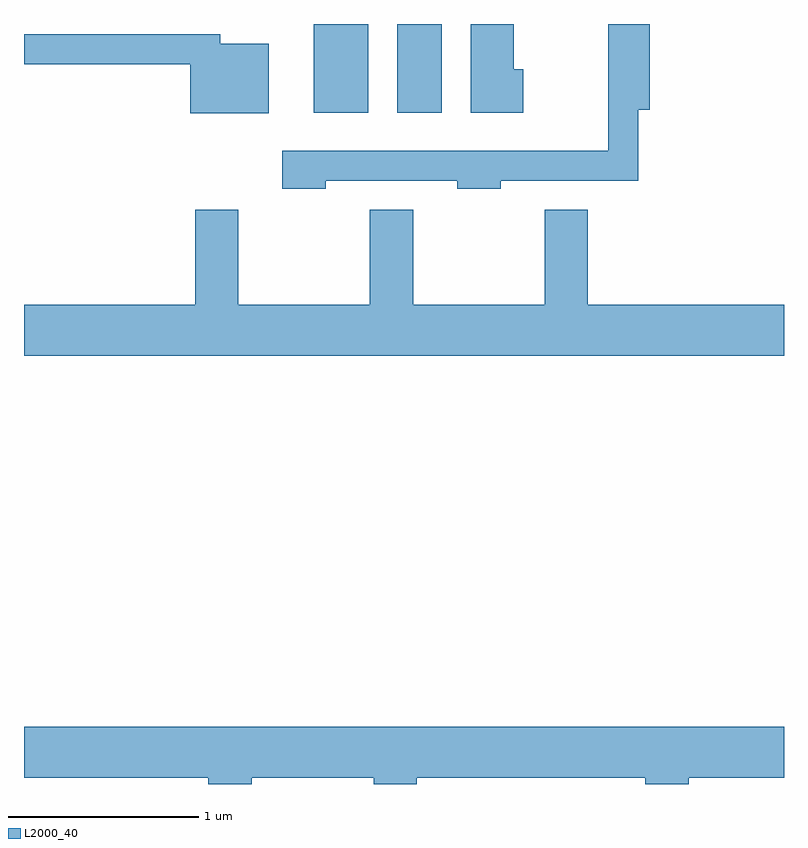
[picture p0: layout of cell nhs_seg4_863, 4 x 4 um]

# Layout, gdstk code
import gdstk
lib = gdstk.Library(unit=1e-6, precision=1e-09)
def R(c, l, rs):  # rectangles x0, y0, x1, y1
    for r in rs: c.add(gdstk.rectangle(r[:2], r[2:], *l))
def P(c, l, *ps):  # polygons
    for p in ps: c.add(gdstk.Polygon(p, *l))
L2000_40 = (2000, 40)

nhs_seg4_863 = lib.new_cell('nhs_seg4_863')
R(nhs_seg4_863, L2000_40, [(211.136,1351.516,211.424,1351.982), (211.576,1351.516,211.809,1351.982)])
P(nhs_seg4_863, L2000_40, [(211.199,1351.156),(211.891,1351.156),(211.891,1351.116),(212.119,1351.116),(212.119,1351.156),(212.844,1351.156),(212.844,1351.531),(212.904,1351.531),(212.904,1351.982),(212.686,1351.982),(212.686,1351.314),(210.971,1351.314),(210.971,1351.116),(211.199,1351.116)],
  [(212.239,1351.744),(212.189,1351.744),(212.189,1351.982),(211.961,1351.982),(211.961,1351.516),(212.239,1351.516)],
  [(210.899,1351.879),(210.644,1351.879),(210.644,1351.929),(209.611,1351.929),(209.611,1351.771),(210.486,1351.771),(210.486,1351.511),(210.899,1351.511)],
  [(213.611,1350.504),(212.579,1350.504),(212.579,1351.004),(212.351,1351.004),(212.351,1350.504),(211.659,1350.504),(211.659,1351.004),(211.431,1351.004),(211.431,1350.504),(210.739,1350.504),(210.739,1351.004),(210.511,1351.004),(210.511,1350.504),(209.611,1350.504),(209.611,1350.236),(213.611,1350.236)],
  [(210.809,1348.016),(211.451,1348.016),(211.451,1347.982),(211.679,1347.982),(211.679,1348.016),(212.881,1348.016),(212.881,1347.982),(213.109,1347.982),(213.109,1348.016),(213.611,1348.016),(213.611,1348.284),(209.611,1348.284),(209.611,1348.016),(210.581,1348.016),(210.581,1347.982),(210.809,1347.982)])

lib.write_gds('nhs_seg4_863.gds')
